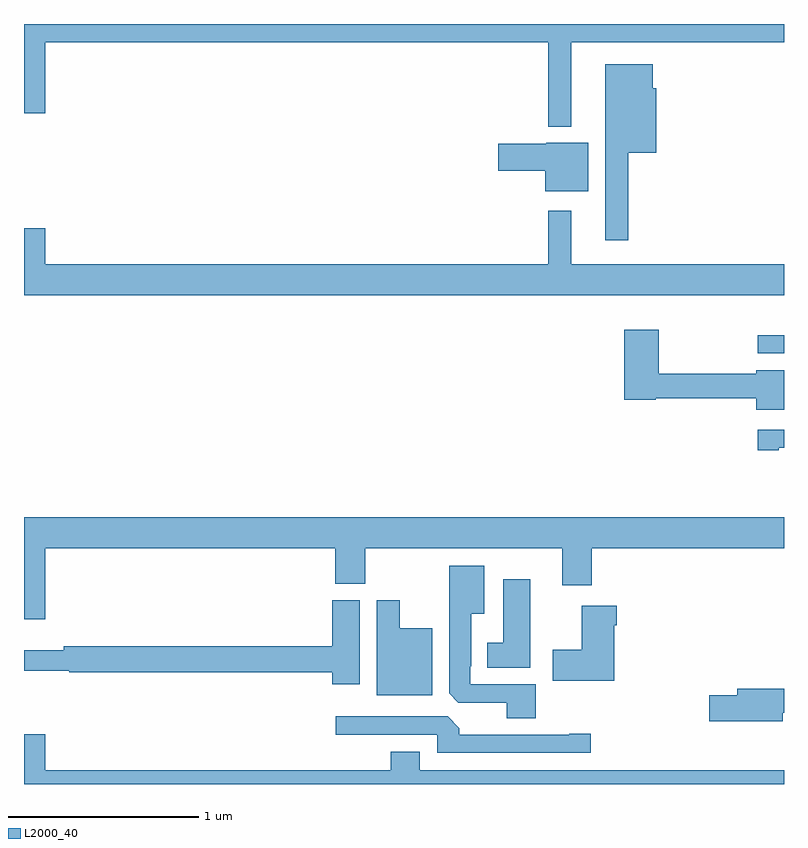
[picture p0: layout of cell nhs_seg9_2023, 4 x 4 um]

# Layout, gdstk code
import gdstk
lib = gdstk.Library(unit=1e-6, precision=1e-09)
def R(c, l, rs):  # rectangles x0, y0, x1, y1
    for r in rs: c.add(gdstk.rectangle(r[:2], r[2:], *l))
def P(c, l, *ps):  # polygons
    for p in ps: c.add(gdstk.Polygon(p, *l))
L2000_40 = (2000, 40)

nhs_seg9_2023 = lib.new_cell('nhs_seg9_2023')
R(nhs_seg9_2023, L2000_40, [(228.861,1210.767,229,1210.863)])
P(nhs_seg9_2023, L2000_40, [(227.881,1212.404),(229,1212.404),(229,1212.5),(225,1212.5),(225,1212.03),(225.112,1212.03),(225.112,1212.404),(227.76,1212.404),(227.76,1211.96),(227.881,1211.96)],
  [(228.181,1211.822),(228.328,1211.822),(228.328,1212.162),(228.31,1212.162),(228.31,1212.289),(228.059,1212.289),(228.059,1211.361),(228.181,1211.361)],
  [(227.971,1211.875),(227.748,1211.875),(227.748,1211.87),(227.496,1211.87),(227.496,1211.728),(227.744,1211.728),(227.744,1211.621),(227.971,1211.621)],
  [(229,1211.236),(227.881,1211.236),(227.881,1211.518),(227.76,1211.518),(227.76,1211.236),(225.112,1211.236),(225.112,1211.425),(225,1211.425),(225,1211.072),(229,1211.072)],
  [(229,1210.678),(228.854,1210.678),(228.854,1210.66),(228.341,1210.66),(228.341,1210.891),(228.158,1210.891),(228.158,1210.523),(228.324,1210.523),(228.324,1210.531),(228.854,1210.531),(228.854,1210.469),(229,1210.469)],
  [(228.973,1210.269),(229,1210.269),(229,1210.365),(228.861,1210.365),(228.861,1210.257),(228.973,1210.257)],
  [(225.112,1209.74),(226.637,1209.74),(226.637,1209.553),(226.797,1209.553),(226.797,1209.74),(227.834,1209.74),(227.834,1209.546),(227.987,1209.546),(227.987,1209.74),(229,1209.74),(229,1209.904),(225,1209.904),(225,1209.366),(225.112,1209.366)],
  [(227.693,1209.024),(227.349,1209.024),(227.349,1209.121),(227.353,1209.121),(227.353,1209.395),(227.422,1209.395),(227.422,1209.649),(227.237,1209.649),(227.237,1208.977),(227.286,1208.928),(227.54,1208.928),(227.54,1208.845),(227.693,1208.845)],
  [(227.665,1209.577),(227.522,1209.577),(227.522,1209.244),(227.438,1209.244),(227.438,1209.113),(227.665,1209.113)],
  [(226.768,1209.468),(226.622,1209.468),(226.622,1209.224),(225.208,1209.224),(225.208,1209.205),(225,1209.205),(225,1209.096),(225.238,1209.096),(225.238,1209.088),(226.622,1209.088),(226.622,1209.024),(226.768,1209.024)],
  [(227.149,1209.319),(226.978,1209.319),(226.978,1209.466),(226.856,1209.466),(226.856,1208.966),(227.149,1208.966)],
  [(228.106,1209.335),(228.119,1209.335),(228.119,1209.439),(227.936,1209.439),(227.936,1209.207),(227.784,1209.207),(227.784,1209.044),(228.106,1209.044)],
  [(228.994,1208.874),(229,1208.874),(229,1209.002),(228.755,1209.002),(228.755,1208.966),(228.606,1208.966),(228.606,1208.831),(228.994,1208.831)],
  [(227.983,1208.765),(227.87,1208.765),(227.87,1208.76),(227.291,1208.76),(227.291,1208.794),(227.229,1208.856),(226.641,1208.856),(226.641,1208.76),(227.175,1208.76),(227.175,1208.664),(227.983,1208.664)],
  [(229,1208.572),(227.083,1208.572),(227.083,1208.671),(226.931,1208.671),(226.931,1208.572),(225.112,1208.572),(225.112,1208.761),(225,1208.761),(225,1208.5),(229,1208.5)])

lib.write_gds('nhs_seg9_2023.gds')
